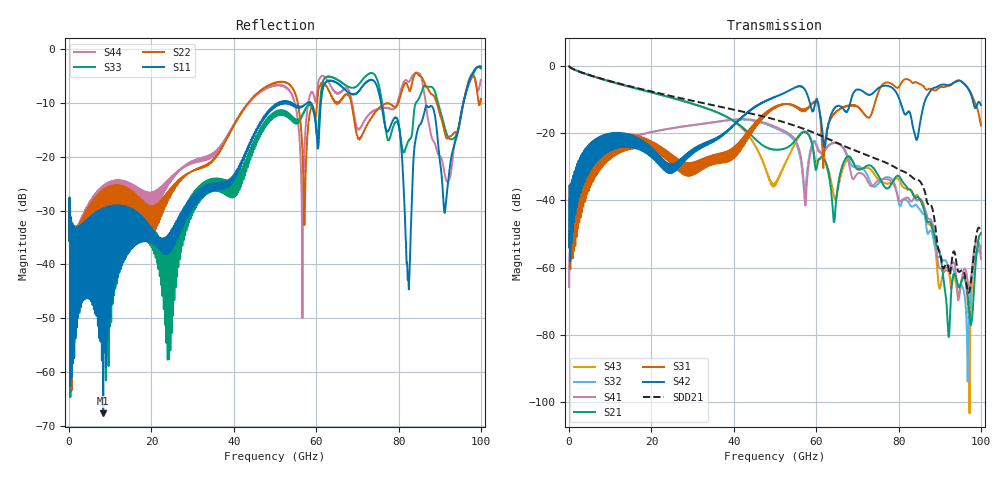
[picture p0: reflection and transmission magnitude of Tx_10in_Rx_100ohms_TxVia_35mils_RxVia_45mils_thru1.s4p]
! Info: Touchstone file created by Circ.  Input file=Tx_10in_Rx_100ohms_TxVia_35mils_RxVia_45mils.circ
# Hz S RI R 50
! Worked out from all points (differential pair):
!   10000 points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, 10 MHz to 100 GHz, reference 50 ohm
!   strongest paths, dB at 10 MHz, 25.01 GHz, 50.01 GHz, 75.01 GHz, 100 GHz:
!     S42: -53.9, -29.8, -9.3, -6.8, -11.6
!     S31: -53.9, -28.2, -12.3, -8.2, -17.7
!     S21: -0.1, -9.5, -24.9, -32.4, -50.0
!     S41: -65.7, -18.6, -18.1, -34.2, -57.4
!     S32: -65.7, -18.6, -18.5, -35.1, -53.3
!     S43: -0.1, -9.6, -35.0, -33.7, -55.8
!   taken as a pair (ports 1,3 in; 2,4 out), SDD21 dB: -0.1, -9.1, -16.0, -27.8, -49.6
!   lowest |S11| = -67.7 dB at 8.29 GHz (marker M1), VSWR 1.00, Z = 50 - j0.0405 ohm
!   |S11| at or under -10 dB: start of sweep to 50.65 GHz; 53.96 GHz to 57.83 GHz (3.866 GHz wide, 6.92 % of centre); 75.76 GHz to 95.75 GHz (19.99 GHz wide, 23.3 % of centre)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
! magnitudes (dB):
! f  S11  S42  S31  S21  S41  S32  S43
! 10 MHz  -35.5  -53.9  -53.9  -0.1  -65.7  -65.7  -0.1
! 8.29 GHz  -67.7  -26.0  -28.8  -4.1  -24.2  -24.2  -4.1
! 73.43 GHz  -5.7  -8.5  -14.4  -29.8  -35.8  -35.2  -31.0
! 82.36 GHz  -42.1  -13.6  -4.1  -36.5  -39.2  -40.4  -36.8
! 86.55 GHz  -10.8  -10.0  -6.9  -44.3  -43.0  -45.7  -43.9
! 92.11 GHz  -24.2  -5.7  -6.0  -80.0  -60.7  -59.8  -60.4
! 100 GHz  -3.2  -11.6  -17.7  -50.0  -57.4  -53.3  -55.8
